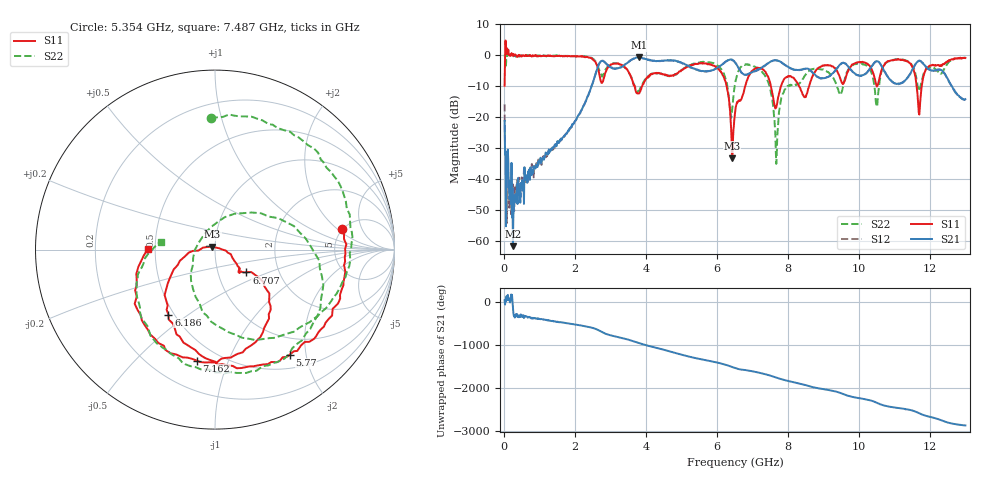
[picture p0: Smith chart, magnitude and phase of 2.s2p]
#  HZ  S  DB  R  50.00
! Rohde & Schwarz ZVA24 2Ports - Version 3.90 - 1145.1110k24 SN: 100222
! Date: 2019-05-03 15:00:00
! Measurements: S11 S21 S12 S22
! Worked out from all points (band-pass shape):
!   1000 points, 10 MHz to 13 GHz, reference 50 ohm
!   highest |S21| = -0.66 dB at 3.794 GHz (marker M1); lowest = -61.6 dB at 244.1 MHz (marker M2)
!   |S21| within 3 dB of the highest: 3.319 GHz to 5.233 GHz (1.913 GHz wide, 44.7 % of centre); 7.293 GHz to 7.981 GHz (687.6 MHz wide, 9 % of centre)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
!   lowest |S11| = -33.2 dB at 6.42 GHz (marker M3), VSWR 1.04, Z = 48.5 + j1.55 ohm
!   |S11| at or under -10 dB: 6.269 GHz to 6.791 GHz (522.7 MHz wide, 8 % of centre); 7.518 GHz to 7.801 GHz (283.2 MHz wide, 3.7 % of centre); 8.314 GHz to 8.591 GHz (276.9 MHz wide, 3.28 % of centre)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
!   |S22| runs from -35.0 to 0.4 dB; largest |S21 - S12| = 0.16
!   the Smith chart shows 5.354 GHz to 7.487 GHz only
!   S11 on the Smith chart (normalised r, x): 5.354 GHz: 4.90, +2.34; 5.77 GHz: 0.71, -1.71; 6.186 GHz: 0.47, -0.42; 6.707 GHz: 1.37, -0.37; 7.162 GHz: 0.38, -0.78; 7.487 GHz: 0.45, +0.00
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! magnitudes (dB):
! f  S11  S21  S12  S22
! 10 MHz  -9.8  -21.2  -15.8  0.2
! 244.1 MHz  -0.1  -61.6  -41.0  -0.1
! 2.182 GHz  -0.4  -17.6  -17.7  -0.3
! 2.728 GHz  -8.5  -1.9  -2.0  -6.1
! 3.794 GHz  -12.3  -0.7  -0.7  -11.5
! 4.34 GHz  -5.8  -1.9  -1.9  -5.7
! 5.354 GHz  -2.9  -4.3  -4.4  -2.7
! 5.77 GHz  -2.9  -5.1  -5.1  -2.2
! 6.186 GHz  -7.0  -2.6  -2.6  -5.8
! 6.42 GHz  -33.2  -1.4  -1.5  -18.0
! 6.512 GHz  -18.0  -2.4  -2.4  -9.1
! 6.707 GHz  -13.3  -5.8  -5.7  -3.4
! 7.162 GHz  -4.1  -4.6  -4.7  -4.2
! 7.487 GHz  -8.5  -2.2  -2.2  -10.3
! 7.669 GHz  -16.8  -1.6  -1.6  -35.0
! 7.916 GHz  -7.3  -3.1  -3.2  -11.0
! 8.67 GHz  -7.3  -5.3  -5.3  -4.5
! 10.14 GHz  -2.3  -6.3  -6.3  -2.9
! 10.5 GHz  -10.1  -1.9  -1.9  -16.6
! 10.84 GHz  -1.9  -7.4  -7.4  -2.0
! 11.7 GHz  -19.1  -1.7  -1.8  -11.6
! 13 GHz  -0.9  -14.2  -14.2  -0.8
